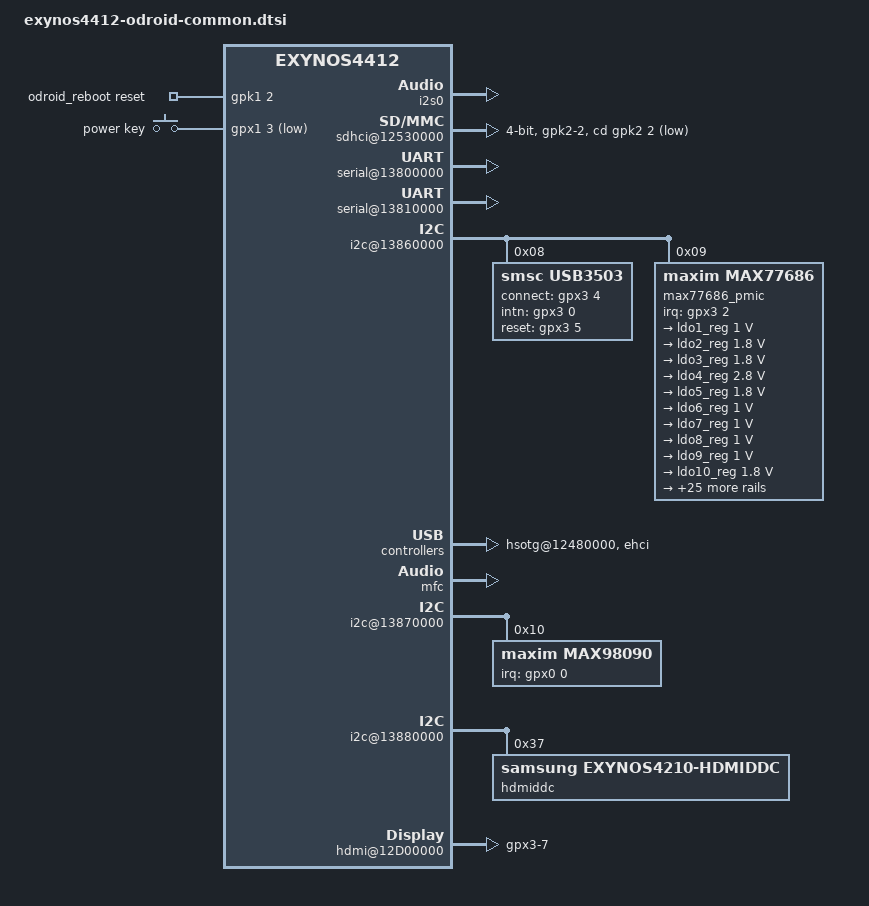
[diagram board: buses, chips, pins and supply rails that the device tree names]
/*
 * Common definition for Hardkernel's Exynos4412 based ODROID-X/X2/U2/U3 boards
 * device tree source
 *
 * This program is free software; you can redistribute it and/or modify
 * it under the terms of the GNU General Public License version 2 as
 * published by the Free Software Foundation.
*/

#include "exynos4412.dtsi"

/ {
	memory {
		reserved-memory {
			#address-cells = <1>;
			#size-cells = <1>;

			contig_mem: region@0 {
				compatible = "linux,contiguous-memory-region";
				reg = <0x0 0x4000000>;
				linux,default-contiguous-region;
			};

			mfc_l_mem: mfc_l_region@43000000 {
				compatible = "linux,contiguous-memory-region", "reserved-memory-region";
				reg = <0x43000000 0x1000000>;
			};

			mfc_r_mem: mfc_r_region@51000000 {
				compatible = "linux,contiguous-memory-region", "reserved-memory-region";
				reg = <0x51000000 0x1000000>;
			};
		};
	};

	chosen {
		bootargs = "console=ttySAC1,115200N8 root=/dev/mmcblk0p2 rootwait earlyprintk panic=5 coherent_pool=1M";
	};

	firmware@0204F000 {
		compatible = "samsung,secure-firmware";
		reg = <0x0204F000 0x1000>;
	};

	i2s0: i2s@03830000 {
		pinctrl-0 = <&i2s0_bus>;
		pinctrl-names = "default";
		status = "okay";
	};

	clock-controller@10030000 {
		assigned-clocks = <&clock 6>; /* fout_epll */
		assigned-clock-rates = <192000000>;
	};

	sound: sound {
		compatible = "samsung,odroidx2-audio";
		samsung,i2s-controller = <&i2s0>;
		samsung,audio-codec = <&max98090>;

		assigned-clocks = <&clock_audss 0>, /* mout_audss */
				<&clock_audss 3>, /* mout_i2s */
				<&clock_audss 1>, /* dout_rp */
				<&clock_audss 2>; /* dout_aud_bus */

		assigned-clock-parents = <&clock 6>, /* fout_epll */
				<&clock_audss 0>; /* mout_audss */

		assigned-clock-rates = <0>,
				<0>,
				<192000000>,
				<19200000>;
	};

	mshc@12550000 {
		pinctrl-0 = <&sd4_clk &sd4_cmd &sd4_bus4 &sd4_bus8>;
		pinctrl-names = "default";
		status = "okay";

		num-slots = <1>;
		supports-highspeed;
		broken-cd;
		fifo-depth = <0x80>;
		card-detect-delay = <200>;
		clock-frequency = <400000000>;
		samsung,dw-mshc-ciu-div = <3>;
		samsung,dw-mshc-sdr-timing = <2 3 3>;
		samsung,dw-mshc-ddr-timing = <1 2 3>;

		slot@0 {
			reg = <0>;
			bus-width = <8>;
		};
	};

	sdhci@12530000 {
		bus-width = <4>;
		pinctrl-0 = <&sd2_clk &sd2_cmd &sd2_bus4 &sd_cdn>;
		pinctrl-names = "default";
		cd-gpios = <&gpk2 2 0>;
		cd-inverted;
		status = "okay";
	};

	serial@13800000 {
		status = "okay";
	};

	serial@13810000 {
		status = "okay";
	};

	fixed-rate-clocks {
		xxti {
			compatible = "samsung,clock-xxti";
			clock-frequency = <0>;
		};

		xusbxti {
			compatible = "samsung,clock-xusbxti";
			clock-frequency = <24000000>;
		};
	};

	i2c@13860000 { // i2c0
		samsung,i2c-sda-delay = <100>;
		samsung,i2c-slave-addr = <0x10>; // ?
		samsung,i2c-max-bus-freq = <100000>;
		pinctrl-0 = <&i2c0_bus>;
		pinctrl-names = "default";
		samsung,i2c-sda-delay = <100>;
		samsung,i2c-max-bus-freq = <400000>;
		status = "okay";

		usb3503: usb3503@08 {
			compatible = "smsc,usb3503";
			reg = <0x08>;

			connect-gpios = <&gpx3 4 0>;
			intn-gpios = <&gpx3 0 0>;
			reset-gpios = <&gpx3 5 0>;
			initial-mode = <1>;

		};

		max77686_pmic@09 {
			compatible = "maxim,max77686";
			interrupt-parent = <&gpx3>;
			interrupts = <2 0>;
			pinctrl-names = "default";
			pinctrl-0 = <&max77686_irq>;
			reg = <0x09>;

			voltage-regulators {
				ldo1_reg: ldo@1 {
					regulator-compatible = "LDO1";
					regulator-name = "VALIVE_1.0V_AP";
					regulator-min-microvolt = <1000000>;
					regulator-max-microvolt = <1000000>;
					regulator-always-on;
				};

				ldo2_reg: ldo@2 {
					regulator-compatible = "LDO2";
					regulator-name = "VDDQ_M1M2_1.8V";
					regulator-min-microvolt = <1800000>;
					regulator-max-microvolt = <1800000>;
					regulator-always-on;
				};

				ldo3_reg: ldo@3 {
					regulator-compatible = "LDO3";
					regulator-name = "VDDQ_M0_1.8V";
					regulator-min-microvolt = <1800000>;
					regulator-max-microvolt = <1800000>;
					regulator-always-on;
				};

				ldo4_reg: ldo@4 {
					regulator-compatible = "LDO4";
					regulator-name = "VDDQ_MMC2_2.8V";
					regulator-min-microvolt = <2800000>;
					regulator-max-microvolt = <2800000>;
					regulator-always-on;
				};

				ldo5_reg: ldo@5 {
					regulator-compatible = "LDO5";
					regulator-name = "VDDQ_MMC13_1V8";
					regulator-min-microvolt = <1800000>;
					regulator-max-microvolt = <1800000>;
					regulator-always-on;
				};

				ldo6_reg: ldo@6 {
					regulator-compatible = "LDO6";
					regulator-name = "VDD_MPLL_1.0V";
					regulator-min-microvolt = <1000000>;
					regulator-max-microvolt = <1000000>;
					regulator-always-on;
				};

				ldo7_reg: ldo@7 {
					regulator-compatible = "LDO7";
					regulator-name = "VDD_VPLL_1.0V";
					regulator-min-microvolt = <1000000>;
					regulator-max-microvolt = <1000000>;
					regulator-always-on;
				};

				ldo8_reg: ldo@8 {
					regulator-compatible = "LDO8";
					regulator-name = "VDD10_HDMI_1.0V";
					regulator-min-microvolt = <1000000>;
					regulator-max-microvolt = <1000000>;
					regulator-always-on;
				};

				ldo9_reg: ldo@9 {
					regulator-compatible = "LDO9";
					regulator-name = "VDD_VTCORE_1.0V";
					regulator-min-microvolt = <1000000>;
					regulator-max-microvolt = <1000000>;
					regulator-always-on;
				};

				ldo10_reg: ldo@10 {
					regulator-compatible = "LDO10";
					regulator-name = "VDDQ_MIPIHSI_1.8V";
					regulator-min-microvolt = <1800000>;
					regulator-max-microvolt = <1800000>;
					regulator-always-on;
				};

				ldo11_reg: ldo@11 {
					regulator-compatible = "LDO11";
					regulator-name = "VDD18_ABB1_1.8V";
					regulator-min-microvolt = <1800000>;
					regulator-max-microvolt = <1800000>;
					regulator-always-on;
				};

				ldo12_reg: ldo@12 {
					regulator-compatible = "LDO12";
					regulator-name = "VDD33_UOTG_3.3V";
					regulator-min-microvolt = <3300000>;
					regulator-max-microvolt = <3300000>;
					regulator-always-on;
				};

				ldo13_reg: ldo@13 {
					regulator-compatible = "LDO13";
					regulator-name = "VDDQ_C2C_1.8V";
					regulator-min-microvolt = <1800000>;
					regulator-max-microvolt = <1800000>;
					regulator-always-on;
				};

				ldo14_reg: ldo@14 {
					regulator-compatible = "LDO14";
					regulator-name = "VDD18_ABB2_1.8V";
					regulator-min-microvolt = <1800000>;
					regulator-max-microvolt = <1800000>;
					regulator-always-on;
				};

				ldo15_reg: ldo@15 {
					regulator-compatible = "LDO15";
					regulator-name = "VDD10_HSIC_1.0V";
					regulator-min-microvolt = <1000000>;
					regulator-max-microvolt = <1000000>;
					regulator-always-on;
				};

				ldo16_reg: ldo@16 {
					regulator-compatible = "LDO16";
					regulator-name = "VDD18_HSIC_1.8V";
					regulator-min-microvolt = <1800000>;
					regulator-max-microvolt = <1800000>;
					regulator-always-on;
				};

				ldo17_reg: ldo@17 {
					regulator-compatible = "LDO17";
					regulator-name = "VDDQ_CAM_1.8V";
					regulator-min-microvolt = <1800000>;
					regulator-max-microvolt = <1800000>;
					regulator-always-on;
				};

				ldo18_reg: ldo@18 {
					regulator-compatible = "LDO18";
					regulator-name = "VDD_LDO18_1.8V";
					regulator-min-microvolt = <1800000>;
					regulator-max-microvolt = <1800000>;
					regulator-always-on;
				};

				ldo19_reg: ldo@19 {
					regulator-compatible = "LDO19";
					regulator-name = "VDD_VTCAM_1.8V";
					regulator-min-microvolt = <1800000>;
					regulator-max-microvolt = <1800000>;
					regulator-always-on;
				};

				ldo20_reg: ldo@20 {
					regulator-compatible = "LDO20";
					regulator-name = "VDD_LDO20_1V8";
					regulator-min-microvolt = <1800000>;
					regulator-max-microvolt = <1800000>;
					regulator-always-on;
				};

				ldo21_reg: ldo@21 {
					regulator-compatible = "LDO21";
					regulator-name = "VDD_SDCARD_3.3V";
					regulator-min-microvolt = <3300000>;
					regulator-max-microvolt = <3300000>;
					regulator-always-on;
				};

				ldo22_reg: ldo@22 {
					regulator-compatible = "LDO22";
					regulator-name = "VDD_LDO22_2.8V";
					regulator-min-microvolt = <2800000>;
					regulator-max-microvolt = <2800000>;
					regulator-always-on;
				};

				ldo23_reg: ldo@23 {
					regulator-compatible = "LDO23";
					regulator-name = "VDD_TOUCH_2.8V";
					regulator-min-microvolt = <2800000>;
					regulator-max-microvolt = <2800000>;
					regulator-always-on;
				};

				ldo24_reg: ldo@24 {
					regulator-compatible = "LDO24";
					regulator-name = "VDD_TOUCHLED_3.3V";
					regulator-min-microvolt = <3300000>;
					regulator-max-microvolt = <3300000>;
					regulator-always-on;
				};

				ldo25_reg: ldo@25 {
					regulator-compatible = "LDO25";
					regulator-name = "VDDQ_LCD_1.8V";
					regulator-min-microvolt = <1800000>;
					regulator-max-microvolt = <1800000>;
					regulator-boot-on;
				};

				ldo26_reg: ldo@26 {
					regulator-compatible = "LDO26";
					regulator-name = "VDD_MOTOR_3.0V";
					regulator-min-microvolt = <3300000>;
					regulator-max-microvolt = <3300000>;
					regulator-always-on;
				};

				buck1_reg: buck@1 {
					regulator-compatible = "BUCK1";
					regulator-name = "VDD_MIF_1.0V";
					regulator-min-microvolt = <800000>;
					regulator-max-microvolt = <1100000>;
					regulator-always-on;
					regulator-boot-on;
				};

				buck2_reg: buck@2 {
					regulator-compatible = "BUCK2";
					regulator-name = "VDD_ARM_1.3V";
					regulator-min-microvolt = <800000>;
					regulator-max-microvolt = <1500000>;
					regulator-always-on;
					regulator-boot-on;
				};

				buck3_reg: buck@3 {
					regulator-compatible = "BUCK3";
					regulator-name = "VDD_INT_1.0V";
					regulator-min-microvolt = <800000>;
					regulator-max-microvolt = <1150000>;
					regulator-always-on;
					regulator-boot-on;
				};

				buck4_reg: buck@4 {
					regulator-compatible = "BUCK4";
					regulator-name = "VDD_G3D_1.0V";
					regulator-min-microvolt = <850000>;
					regulator-max-microvolt = <1200000>;
					regulator-boot-on;
				};

				buck5_reg: buck@5 {
					regulator-compatible = "BUCK5";
					regulator-name = "VDDQ_CKEM1M2_1.2V";
					regulator-min-microvolt = <1200000>;
					regulator-max-microvolt = <1200000>;
					regulator-always-on;
				};

				buck6_reg: buck@6 {
					regulator-compatible = "BUCK6";
					regulator-name = "VDD_INL_1.35V";
					regulator-min-microvolt = <1350000>;
					regulator-max-microvolt = <1350000>;
					regulator-always-on;
				};

				buck7_reg: buck@7 {
					regulator-compatible = "BUCK7";
					regulator-name = "VDD_INL_2.0V";
					regulator-min-microvolt = <2000000>;
					regulator-max-microvolt = <2000000>;
					regulator-always-on;
				};

				buck8_reg: buck@8 {
					regulator-compatible = "BUCK8";
					regulator-name = "VDD_BUCK8_2.8V";
					regulator-min-microvolt = <2800000>;
					regulator-max-microvolt = <2800000>;
				};

				buck9_reg: buck@9 {
					regulator-compatible = "BUCK9";
					regulator-name = "VDD_BUCK9_1.2V";
					regulator-min-microvolt = <1200000>;
					regulator-max-microvolt = <1200000>;
					regulator-always-on;
				};

			};

		};
	};

	exynos-usbphy@125B0000 {
		status = "okay";
	};

	hsotg@12480000 {
		status = "okay";
		vusb_d-supply = <&ldo15_reg>;
		vusb_a-supply = <&ldo12_reg>;
	};

	ehci: ehci@12580000 {
		status = "okay";
		vusb_d-supply = <&ldo15_reg>;
		vusb_a-supply = <&ldo12_reg>;
	};

	camera {
		status = "okay";

		pinctrl-names = "default";
		pinctrl-0 = <&cam_port_a_clk_idle>;

		fimc_0: fimc@11800000 {
			status = "okay";
		};

		fimc_1: fimc@11810000 {
			status = "okay";
		};

		fimc_2: fimc@11820000 {
			status = "okay";
		};

		fimc_3: fimc@11830000 {
			status = "okay";
		};
	};

	mfc: codec@13400000 {
		status = "okay";

		memport@0 {
			memory-region = <&mfc_l_mem>;
		};

		memport@1 {
			memory-region = <&mfc_r_mem>;
		};
	};

	i2c@13870000 {
		pinctrl-names = "default";
		pinctrl-0 = <&i2c1_bus>;
		status = "okay";
		max98090: max98090@10 {
			compatible = "maxim,max98090";
			reg = <0x10>;
			interrupt-parent = <&gpx0>;
			interrupts = <0 0>;
		};
	};

	i2c@13880000 {
		pinctrl-names = "default";
		pinctrl-0 = <&i2c2_bus>;
		status = "okay";
		hdmiddc@37 {
			compatible = "samsung,exynos4210-hdmiddc";
			reg = <0x37>;
		};
	};

	gpu@13000000 {
		status = "okay";
		vdd_g3d-supply = <&buck4_reg>;
	};

	cpufreq {
		freq_table = <1704000 1600000 1500000 1400000 1300000 1200000
			      1100000 1000000 900000  800000  700000  600000
			      500000  400000  300000  200000>;
		boost_freq = <1800000>;
		vdd_arm-supply = <&buck2_reg>;
		status = "okay";
	};

	hdmi@12D00000 {
		hpd-gpio = <&gpx3 7 0>;
		pinctrl-names = "default";
		pinctrl-0 = <&hdmi_hpd>;
		/*
		 * HDMI_EN is a dummy regulator on Origen.
		 * Therefore LDO8 is used instead because
		 * it is enabled at the same time as hdmi-en
		 */
		hdmi-en-supply = <&ldo8_reg>;
		vdd-supply = <&ldo8_reg>;
		vdd_osc-supply = <&ldo10_reg>;
		vdd_pll-supply = <&ldo8_reg>;
		status = "okay";
	};

	odroid_reboot {
		pinctrl-names = "default";
		pinctrl-0 = <&emmc_ndet>;
		compatible = "hardkernel,odroid-reboot";
		reset-gpio = <&gpk1 2 0>;
	};

	gpio_keys {
		compatible = "gpio-keys";
		pinctrl-names = "default";
		pinctrl-0 = <&gpio_power_key>;

		power_key {
			interrupt-parent = <&gpx1>;
			interrupts = <3 0>;
			gpios = <&gpx1 3 1>;
			linux,code = <116>;
			label = "power key";
			debounce-interval = <10>;
			gpio-key,wakeup;
		};
	};

	tmu@100C0000 {
		vtmu-supply = <&ldo10_reg>;
		status = "okay";
	};

	g2d@10800000 {
		status = "okay";
	};
};

&pinctrl_1 {
	gpio_power_key: power_key {
		samsung,pins = "gpx1-3";
		samsung,pin-pud = <0>;
	};

	max77686_irq: max77686-irq {
		samsung,pins = "gpx3-2";
		samsung,pin-function = <0>;
		samsung,pin-pud = <0>;
		samsung,pin-drv = <0>;
	};

	sd_cdn: sd_cdn {
		samsung,pins = "gpk2-2";
		samsung,pin-pud = <0>;
	};

	gpio_home_key: home_key {
		samsung,pins = "gpx2-2";
		samsung,pin-pud = <1>;
	};

	hdmi_hpd: hdmi-hpd {
		samsung,pins = "gpx3-7";
		samsung,pin-pud = <1>;
	};

	emmc_ndet: emmc-ndet {
		samsung,pins = "gpk1-2";
		samsung,pin-pud = <0>;
		samsung,pin-con-pdn = <1>;
		samsung,pin-pud-pdn = <0>;
	};
};
